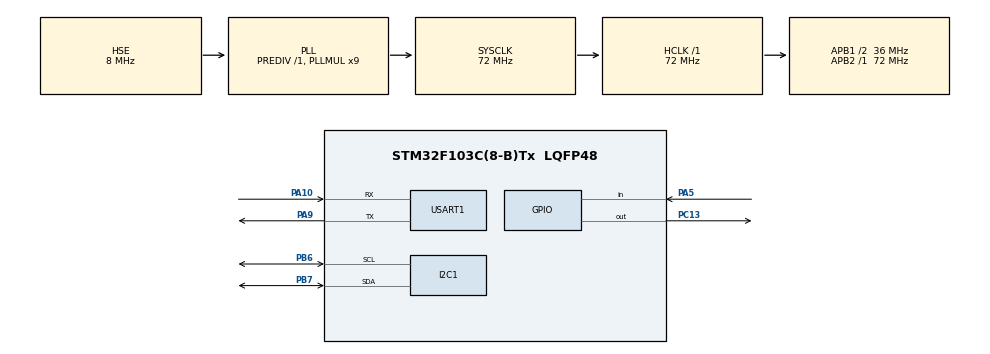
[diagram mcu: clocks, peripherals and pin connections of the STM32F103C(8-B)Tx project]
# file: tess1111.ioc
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FREERTOS.BinarySemaphores01=rxUart_BinarySem01,Dynamic,NULL,Available
FREERTOS.Mutexes01=uart_tx_Mutex01,Dynamic,NULL,Available
FREERTOS.Queues01=sensor_Queue01,16,uint16_t,0,Dynamic,NULL,NULL;rxUart_Queue02,16,uint16_t,0,Dynamic,NULL,NULL
FREERTOS.Tasks01=defaultTask,24,128,StartDefaultTask,Default,NULL,Dynamic,NULL,NULL;UART_RX_Task02,41,128,rxStartTask02,Default,NULL,Dynamic,NULL,NULL;Warning_Task03,16,128,waStartTask03,Default,NULL,Dynamic,NULL,NULL;UART_TX_Task04,10,128,txStartTask04,Default,NULL,Dynamic,NULL,NULL;LCD_Task05,10,128,lcdStartTask05,Default,NULL,Dynamic,NULL,NULL;DHT11_Task06,9,128,dht11StartTask06,Default,NULL,Dynamic,NULL,NULL
FREERTOS.configTOTAL_HEAP_SIZE=12288
FREERTOS.configUSE_NEWLIB_REENTRANT=1
Mcu.Family=STM32F1
Mcu.Name=STM32F103C(8-B)Tx
Mcu.Package=LQFP48
NVIC.PriorityGroup=NVIC_PRIORITYGROUP_4
NVIC.TIM4_IRQn=true\:15\:0\:false\:false\:true\:false\:false\:true\:true
NVIC.TimeBase=TIM4_IRQn
NVIC.TimeBaseIP=TIM4
NVIC.USART1_IRQn=true\:5\:0\:false\:false\:true\:true\:true\:true\:true
PA10.Mode=Asynchronous
PA10.Signal=USART1_RX
PA13.Mode=Serial_Wire
PA13.Signal=SYS_JTMS-SWDIO
PA14.Mode=Serial_Wire
PA14.Signal=SYS_JTCK-SWCLK
PA5.Signal=GPIO_Input
PA9.Mode=Asynchronous
PA9.Signal=USART1_TX
PB6.Mode=I2C
PB6.Signal=I2C1_SCL
PB7.Mode=I2C
PB7.Signal=I2C1_SDA
PC13-TAMPER-RTC.Signal=GPIO_Output
PD0-OSC_IN.Mode=HSE-External-Oscillator
PD0-OSC_IN.Signal=RCC_OSC_IN
PD1-OSC_OUT.Mode=HSE-External-Oscillator
PD1-OSC_OUT.Signal=RCC_OSC_OUT
ProjectManager.HeapSize=0x200
ProjectManager.StackSize=0x400
ProjectManager.TargetToolchain=STM32CubeIDE
RCC.AHBFreq_Value=72000000
RCC.APB1CLKDivider=RCC_HCLK_DIV2
RCC.APB1Freq_Value=36000000
RCC.APB1TimFreq_Value=72000000
RCC.APB2Freq_Value=72000000
RCC.APB2TimFreq_Value=72000000
RCC.HCLKFreq_Value=72000000
RCC.PLLMUL=RCC_PLL_MUL9
RCC.PLLSourceVirtual=RCC_PLLSOURCE_HSE
RCC.SYSCLKFreq_VALUE=72000000
RCC.SYSCLKSource=RCC_SYSCLKSOURCE_PLLCLK
RCC.USBFreq_Value=72000000
USART1.VirtualMode=VM_ASYNC
VP_FREERTOS_VS_CMSIS_V2.Mode=CMSIS_V2
VP_SYS_VS_tim4.Mode=TIM4
VP_TIM2_VS_ClockSourceINT.Mode=Internal
board=custom

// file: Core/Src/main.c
/* USER CODE BEGIN Header */
/* USER CODE END Header */
#include "main.h"
#include "cmsis_os.h"

/* USER CODE BEGIN Includes */
#include <stdarg.h>
#include <stdio.h>
#include <string.h>
#include "dht11.h"
#include "i2c_LCD.h"
#include "time_delay.h"

/* USER CODE END Includes */

I2C_HandleTypeDef hi2c1;

TIM_HandleTypeDef htim2;

UART_HandleTypeDef huart1;

/* Definitions for defaultTask */
osThreadId_t defaultTaskHandle;
const osThreadAttr_t defaultTask_attributes = {
  .name = "defaultTask",
  .stack_size = 128 * 4,
  .priority = (osPriority_t) osPriorityLow,
};
/* Definitions for UART_RX_Task02 */
osThreadId_t UART_RX_Task02Handle;
const osThreadAttr_t UART_RX_Task02_attributes = {
  .name = "UART_RX_Task02",
  .stack_size = 256 * 4,
  .priority = (osPriority_t) osPriorityHigh1,
};
/* Definitions for Warning_Task03 */
osThreadId_t Warning_Task03Handle;
const osThreadAttr_t Warning_Task03_attributes = {
  .name = "Warning_Task03",
  .stack_size = 128 * 4,
  .priority = (osPriority_t) osPriorityLow2,
};
/* Definitions for UART_TX_Task04 */
osThreadId_t UART_TX_Task04Handle;
const osThreadAttr_t UART_TX_Task04_attributes = {
  .name = "UART_TX_Task04",
  .stack_size = 512 * 4,
  .priority = (osPriority_t) osPriorityLow2,
};
/* Definitions for LCD_Task05 */
osThreadId_t LCD_Task05Handle;
const osThreadAttr_t LCD_Task05_attributes = {
  .name = "LCD_Task05",
  .stack_size = 256 * 4,
  .priority = (osPriority_t) osPriorityLow2,
};
/* Definitions for DHT11_Task06 */
osThreadId_t DHT11_Task06Handle;
const osThreadAttr_t DHT11_Task06_attributes = {
  .name = "DHT11_Task06",
  .stack_size = 256 * 4,
  .priority = (osPriority_t) osPriorityLow3,
};
/* Definitions for sensor_Queue01 */
osMessageQueueId_t sensor_Queue01Handle;
const osMessageQueueAttr_t sensor_Queue01_attributes = {
  .name = "sensor_Queue01"
};
/* Definitions for rxUart_Queue02 */
osMessageQueueId_t rxUart_Queue02Handle;
const osMessageQueueAttr_t rxUart_Queue02_attributes = {
  .name = "rxUart_Queue02"
};
/* Definitions for uart_tx_Mutex01 */
osMutexId_t uart_tx_Mutex01Handle;
const osMutexAttr_t uart_tx_Mutex01_attributes = {
  .name = "uart_tx_Mutex01"
};
/* Definitions for rxUart_BinarySem01 */
osSemaphoreId_t rxUart_BinarySem01Handle;
const osSemaphoreAttr_t rxUart_BinarySem01_attributes = {
  .name = "rxUart_BinarySem01"
};
/* USER CODE BEGIN PV */
volatile uint8_t g_temp = 0;
volatile uint8_t g_hum  = 0;

volatile uint8_t th_temp = 20;
volatile uint8_t th_hum  = 60;

volatile uint32_t T1 = 2000; // DHT11
volatile uint32_t T2 = 500;  // Warning
volatile uint32_t T3 = 2000; // LCD
volatile uint32_t T4 = 1000; // UART TX

uint8_t rx_byte;
char rx_buf[64];
volatile uint8_t rx_idx = 0;
// Driver handles
LCD1602_I2C_t lcd;
DHT11_HandleTypeDef hdht11;
DHT11_Data_t dht_out;

/* USER CODE END PV */

void SystemClock_Config(void);
static void MX_GPIO_Init(void);
static void MX_I2C1_Init(void);
static void MX_USART1_UART_Init(void);
static void MX_TIM2_Init(void);
void StartDefaultTask(void *argument);
void rxStartTask02(void *argument);
void waStartTask03(void *argument);
void txStartTask04(void *argument);
void lcdStartTask05(void *argument);
void dht11StartTask06(void *argument);

/* USER CODE BEGIN 0 */
void myPrintf(const char *fmt, ...)
{
  char buf[128];
  va_list args;

  va_start(args, fmt);
  int len = vsnprintf(buf, sizeof(buf), fmt, args);
  va_end(args);

  if (len <= 0) return;
  if (len > sizeof(buf)) len = sizeof(buf);

  osMutexAcquire(uart_tx_Mutex01Handle, osWaitForever);
  HAL_UART_Transmit(&huart1, (uint8_t*)buf, len, 100);
  osMutexRelease(uart_tx_Mutex01Handle);
}

/* USER CODE BEGIN 0 */
static void Exec_DHT11(void)
{
  DHT11_Data_t d;
  int err = DHT11_Read(&hdht11, &d);
  if (err == 0)
  {
    g_temp = d.temperature_int;
    g_hum  = d.humidity_int;
  }
  // n?u l?i: gi? giá tr? cu (không gán)
}

//static void Exec_WarningLED(void)
//{
//  if (g_temp > th_temp || g_hum > th_hum)
//    HAL_GPIO_WritePin(GPIOC, GPIO_PIN_13, GPIO_PIN_RESET); // ON (active-low)
//  else
//    HAL_GPIO_WritePin(GPIOC, GPIO_PIN_13, GPIO_PIN_SET);   // OFF
//}
static void Exec_WarningLED(void)
{
  static uint32_t last_toggle = 0;
  const uint32_t blink_ms = 50; // t?c d? nháy khi c?nh báo

  if (g_temp > th_temp || g_hum > th_hum)
  {
    uint32_t now = osKernelGetTickCount();
    if ((now - last_toggle) >= blink_ms)
    {
      HAL_GPIO_TogglePin(GPIOC, GPIO_PIN_13);  // nháy
      last_toggle = now;
    }
  }
  else
  {
    HAL_GPIO_WritePin(GPIOC, GPIO_PIN_13, GPIO_PIN_SET); // OFF (PC13 active-low)
    last_toggle = osKernelGetTickCount(); // reset nh?p nháy
  }
}

static void Exec_LCD(void)
{
  char l1[17], l2[17];
  snprintf(l1, sizeof(l1), "Tem:%2uC Hum:%2u%%", g_temp, g_hum);
  snprintf(l2, sizeof(l2), "SET:%2uC %2u%% ", th_temp, th_hum);

  LCD1602_SetCursor(&lcd, 0, 0);
  LCD1602_Print(&lcd, "                ");
  LCD1602_SetCursor(&lcd, 0, 0);
  LCD1602_Print(&lcd, l1);

  LCD1602_SetCursor(&lcd, 1, 0);
  LCD1602_Print(&lcd, "                ");
  LCD1602_SetCursor(&lcd, 1, 0);
  LCD1602_Print(&lcd, l2);
}

static void Exec_UARTTX(void)
{
  myPrintf("[TX] tick=%lu T=%u H=%u | P=%lu,%lu,%lu,%lu | SET: %u,%u\r\n",
           osKernelGetTickCount(), g_temp, g_hum,
           T1, T2, T3, T4, th_temp, th_hum);
}

static void Exec_UARTRX_Parse(void)
{
  uint32_t p1,p2,p3,p4,tt,hh;
  if (sscanf(rx_buf, "SET P=%lu,%lu,%lu,%lu TEMP=%lu HUM=%lu",
             &p1,&p2,&p3,&p4,&tt,&hh) == 6)
  {
    osKernelLock();
    T1 = p1; T2 = p2; T3 = p3; T4 = p4;
    th_temp = (uint8_t)tt;
    th_hum  = (uint8_t)hh;
    osKernelUnlock();

    myPrintf("[RX] OK P=%lu,%lu,%lu,%lu TH=%u,%u\r\n",
             T1,T2,T3,T4,th_temp,th_hum);
  }
  else
  {
    myPrintf("[RX] BAD CMD: %s\r\n", rx_buf);
    myPrintf("[RX] EX: SET P=2000,500,1000,1000 TEMP=30 HUM=60.\r\n");
  }
}
/* USER CODE END 0 */

/* USER CODE END 0 */

int main(void)
{

  /* MCU Configuration--------------------------------------------------------*/

  /* Reset of all peripherals, Initializes the Flash interface and the Systick. */
  HAL_Init();

  /* Configure the system clock */
  SystemClock_Config();

  /* Initialize all configured peripherals */
  MX_GPIO_Init();
  MX_I2C1_Init();
  MX_USART1_UART_Init();
  MX_TIM2_Init();
  /* USER CODE BEGIN 2 */
  /* USER CODE BEGIN 2 */

  HAL_TIM_Base_Start(&htim2);
  TIM2_Delay_Init(&htim2);

  // init dht11 (PA5 + TIM2)
  hdht11.GPIOx = GPIOA;
  hdht11.GPIO_Pin = GPIO_PIN_5;
  hdht11.htim = &htim2;
  DHT11_Init(&hdht11);

  // LCD address: 0x27 ho?c 0x3F
  LCD1602_Init(&lcd, &hi2c1, 0x27);
  LCD1602_Clear(&lcd);
  LCD1602_SetCursor(&lcd, 0, 0);
  LCD1602_Print(&lcd, "DHT11 + LCD");
  HAL_Delay(1000);
  LCD1602_Clear(&lcd);

  // set default global

//  T1 = 2000; // DHT11
//  T2 = 500;  // Warning
//  T3 = 1000; // LCD
//  T4 = 1000; // UART TX
//
//  th_temp = 20;
//  th_hum  = 70;

  HAL_GPIO_WritePin(GPIOC, GPIO_PIN_13, GPIO_PIN_SET); // LED OFF (PC13 active-low)

  // start UART RX interrupt (1 byte)
 HAL_UART_Receive_IT(&huart1, &rx_byte, 1);
//  HAL_UART_Transmit(&huart1, (uint8_t*)"BOOT\r\n", 6, 100);
//  HAL_Delay(200);
//  HAL_UART_Transmit(&huart1, (uint8_t*)"BOOT2\r\n", 7, 100);

  /* USER CODE END 2 */

  /* USER CODE END 2 */

  /* Init scheduler */
  osKernelInitialize();
  /* Create the mutex(es) */
  /* creation of uart_tx_Mutex01 */
  uart_tx_Mutex01Handle = osMutexNew(&uart_tx_Mutex01_attributes);

  /* Create the semaphores(s) */
  /* creation of rxUart_BinarySem01 */
//  rxUart_BinarySem01Handle = osSemaphoreNew(1, 1, &rxUart_BinarySem01_attributes);
  rxUart_BinarySem01Handle = osSemaphoreNew(1, 0, &rxUart_BinarySem01_attributes);

  /* Create the queue(s) */
  /* creation of sensor_Queue01 */
  sensor_Queue01Handle = osMessageQueueNew (16, sizeof(uint16_t), &sensor_Queue01_attributes);

  /* creation of rxUart_Queue02 */
  rxUart_Queue02Handle = osMessageQueueNew (16, sizeof(uint16_t), &rxUart_Queue02_attributes);

  /* Create the thread(s) */
  /* creation of defaultTask */
  defaultTaskHandle = osThreadNew(StartDefaultTask, NULL, &defaultTask_attributes);

  /* creation of UART_RX_Task02 */
  UART_RX_Task02Handle = osThreadNew(rxStartTask02, NULL, &UART_RX_Task02_attributes);

  /* creation of Warning_Task03 */
  Warning_Task03Handle = osThreadNew(waStartTask03, NULL, &Warning_Task03_attributes);

  /* creation of UART_TX_Task04 */
  UART_TX_Task04Handle = osThreadNew(txStartTask04, NULL, &UART_TX_Task04_attributes);

  /* creation of LCD_Task05 */
  LCD_Task05Handle = osThreadNew(lcdStartTask05, NULL, &LCD_Task05_attributes);

  /* creation of DHT11_Task06 */
  DHT11_Task06Handle = osThreadNew(dht11StartTask06, NULL, &DHT11_Task06_attributes);

  /* Start scheduler */
  osKernelStart();

  /* We should never get here as control is now taken by the scheduler */

  /* Infinite loop */

}

void SystemClock_Config(void)
{
  RCC_OscInitTypeDef RCC_OscInitStruct = {0};
  RCC_ClkInitTypeDef RCC_ClkInitStruct = {0};

  /** Initializes the RCC Oscillators according to the specified parameters
  * in the RCC_OscInitTypeDef structure.
  */
  RCC_OscInitStruct.OscillatorType = RCC_OSCILLATORTYPE_HSE;
  RCC_OscInitStruct.HSEState = RCC_HSE_ON;
  RCC_OscInitStruct.HSEPredivValue = RCC_HSE_PREDIV_DIV1;
  RCC_OscInitStruct.HSIState = RCC_HSI_ON;
  RCC_OscInitStruct.PLL.PLLState = RCC_PLL_ON;
  RCC_OscInitStruct.PLL.PLLSource = RCC_PLLSOURCE_HSE;
  RCC_OscInitStruct.PLL.PLLMUL = RCC_PLL_MUL9;
  if (HAL_RCC_OscConfig(&RCC_OscInitStruct) != HAL_OK)
  {
    Error_Handler();
  }

  /** Initializes the CPU, AHB and APB buses clocks
  */
  RCC_ClkInitStruct.ClockType = RCC_CLOCKTYPE_HCLK|RCC_CLOCKTYPE_SYSCLK
                              |RCC_CLOCKTYPE_PCLK1|RCC_CLOCKTYPE_PCLK2;
  RCC_ClkInitStruct.SYSCLKSource = RCC_SYSCLKSOURCE_PLLCLK;
  RCC_ClkInitStruct.AHBCLKDivider = RCC_SYSCLK_DIV1;
  RCC_ClkInitStruct.APB1CLKDivider = RCC_HCLK_DIV2;
  RCC_ClkInitStruct.APB2CLKDivider = RCC_HCLK_DIV1;

  if (HAL_RCC_ClockConfig(&RCC_ClkInitStruct, FLASH_LATENCY_2) != HAL_OK)
  {
    Error_Handler();
  }
}

static void MX_I2C1_Init(void)
{

  hi2c1.Instance = I2C1;
  hi2c1.Init.ClockSpeed = 100000;
  hi2c1.Init.DutyCycle = I2C_DUTYCYCLE_2;
  hi2c1.Init.OwnAddress1 = 0;
  hi2c1.Init.AddressingMode = I2C_ADDRESSINGMODE_7BIT;
  hi2c1.Init.DualAddressMode = I2C_DUALADDRESS_DISABLE;
  hi2c1.Init.OwnAddress2 = 0;
  hi2c1.Init.GeneralCallMode = I2C_GENERALCALL_DISABLE;
  hi2c1.Init.NoStretchMode = I2C_NOSTRETCH_DISABLE;
  if (HAL_I2C_Init(&hi2c1) != HAL_OK)
  {
    Error_Handler();
  }

}

static void MX_TIM2_Init(void)
{

  TIM_ClockConfigTypeDef sClockSourceConfig = {0};
  TIM_MasterConfigTypeDef sMasterConfig = {0};

  htim2.Instance = TIM2;
  htim2.Init.Prescaler = 71;
  htim2.Init.CounterMode = TIM_COUNTERMODE_UP;
  htim2.Init.Period = 65535;
  htim2.Init.ClockDivision = TIM_CLOCKDIVISION_DIV1;
  htim2.Init.AutoReloadPreload = TIM_AUTORELOAD_PRELOAD_DISABLE;
  if (HAL_TIM_Base_Init(&htim2) != HAL_OK)
  {
    Error_Handler();
  }
  sClockSourceConfig.ClockSource = TIM_CLOCKSOURCE_INTERNAL;
  if (HAL_TIM_ConfigClockSource(&htim2, &sClockSourceConfig) != HAL_OK)
  {
    Error_Handler();
  }
  sMasterConfig.MasterOutputTrigger = TIM_TRGO_RESET;
  sMasterConfig.MasterSlaveMode = TIM_MASTERSLAVEMODE_DISABLE;
  if (HAL_TIMEx_MasterConfigSynchronization(&htim2, &sMasterConfig) != HAL_OK)
  {
    Error_Handler();
  }

}

static void MX_USART1_UART_Init(void)
{

  huart1.Instance = USART1;
  huart1.Init.BaudRate = 115200;
  huart1.Init.WordLength = UART_WORDLENGTH_8B;
  huart1.Init.StopBits = UART_STOPBITS_1;
  huart1.Init.Parity = UART_PARITY_NONE;
  huart1.Init.Mode = UART_MODE_TX_RX;
  huart1.Init.HwFlowCtl = UART_HWCONTROL_NONE;
  huart1.Init.OverSampling = UART_OVERSAMPLING_16;
  if (HAL_UART_Init(&huart1) != HAL_OK)
  {
    Error_Handler();
  }

}

static void MX_GPIO_Init(void)
{
  GPIO_InitTypeDef GPIO_InitStruct = {0};

  /* GPIO Ports Clock Enable */
  __HAL_RCC_GPIOC_CLK_ENABLE();
  __HAL_RCC_GPIOD_CLK_ENABLE();
  __HAL_RCC_GPIOA_CLK_ENABLE();
  __HAL_RCC_GPIOB_CLK_ENABLE();

  /*Configure GPIO pin Output Level */
  HAL_GPIO_WritePin(GPIOC, GPIO_PIN_13, GPIO_PIN_RESET);

  /*Configure GPIO pin : PC13 */
  GPIO_InitStruct.Pin = GPIO_PIN_13;
  GPIO_InitStruct.Mode = GPIO_MODE_OUTPUT_PP;
  GPIO_InitStruct.Pull = GPIO_NOPULL;
  GPIO_InitStruct.Speed = GPIO_SPEED_FREQ_LOW;
  HAL_GPIO_Init(GPIOC, &GPIO_InitStruct);

  /*Configure GPIO pin : PA5 */
  GPIO_InitStruct.Pin = GPIO_PIN_5;
  GPIO_InitStruct.Mode = GPIO_MODE_INPUT;
  GPIO_InitStruct.Pull = GPIO_NOPULL;
  HAL_GPIO_Init(GPIOA, &GPIO_InitStruct);

}

/* USER CODE BEGIN 4 */

void HAL_UART_RxCpltCallback(UART_HandleTypeDef *huart)
{
  if (huart->Instance == USART1)
  {
    if (rx_idx < sizeof(rx_buf)-1)
      rx_buf[rx_idx++] = (char)rx_byte;

    if (rx_byte == '.')
    {
      rx_buf[rx_idx] = 0;
      rx_idx = 0;

      if (osKernelGetState() == osKernelRunning && rxUart_BinarySem01Handle != NULL)
        osSemaphoreRelease(rxUart_BinarySem01Handle);
    }

    HAL_UART_Receive_IT(&huart1, &rx_byte, 1);
  }
}

/* USER CODE END 4 */

void StartDefaultTask(void *argument)
{
  /* USER CODE BEGIN 5 */
//	  HAL_UART_Receive_IT(&huart1, &rx_byte, 1);
	  for(;;) osDelay(10000);
  /* USER CODE END 5 */
}

void rxStartTask02(void *argument)
{
  /* USER CODE BEGIN rxStartTask02 */
//	for(;;)
//	  {
//	    osSemaphoreAcquire(rxUart_BinarySem01Handle, osWaitForever);
//
//	    uint32_t p1,p2,p3,p4,tt,hh;
//
//	    if (sscanf(rx_buf,"SET P=%lu,%lu,%lu,%lu TEMP=%lu HUM=%lu",
//	               &p1,&p2,&p3,&p4,&tt,&hh)==6)
//	    {
//	      T1=p1; T2=p2; T3=p3; T4=p4;
//	      th_temp=tt; th_hum=hh;
//
//	      myPrintf("[RX] OK P=%lu,%lu,%lu,%lu T=%u H=%u\r\n",
//	               T1,T2,T3,T4,th_temp,th_hum);
//	    }
//	  }
  /* USER CODE END rxStartTask02 */

	  /* USER CODE BEGIN rxStartTask02 */
	  for(;;)
	  {
	    osSemaphoreAcquire(rxUart_BinarySem01Handle, osWaitForever);
	    Exec_UARTRX_Parse();
	  }
	  /* USER CODE END rxStartTask02 */

}

void waStartTask03(void *argument)
{
  /* USER CODE BEGIN waStartTask03 */

//	  for(;;)
//	  {
//	    myPrintf("[WARN] START %lu\r\n", osKernelGetTickCount());
//
//	    if(g_temp>th_temp || g_hum>th_hum)
//	      HAL_GPIO_WritePin(GPIOC,GPIO_PIN_13,GPIO_PIN_RESET);
//	    else
//	      HAL_GPIO_WritePin(GPIOC,GPIO_PIN_13,GPIO_PIN_SET);
//
//	    myPrintf("[WARN] END %lu\r\n", osKernelGetTickCount());
//	    osDelay(T2);
//	  }

	  /* USER CODE BEGIN waStartTask03 */
	  uint32_t last = osKernelGetTickCount();
	  for(;;)
	  {
		  myPrintf("[%lu] RUN warring\r\n",last);
	    last += T2;
	    Exec_WarningLED();
	   osDelayUntil(last);
	    //osDelay(last);
	  }
	  /* USER CODE END waStartTask03 */

  /* USER CODE END waStartTask03 */
}

void txStartTask04(void *argument)
{
  /* USER CODE BEGIN txStartTask04 */

//	  for(;;)
//	  {
//	    myPrintf("[TX] tick=%lu T=%d H=%d\r\n",
//	             osKernelGetTickCount(), g_temp, g_hum);
//	    osDelay(T4);
//	  }

	  /* USER CODE BEGIN txStartTask04 */
	//  HAL_UART_Transmit(&huart1, (uint8_t*)"HELLO\r\n", 7, 100);
	  uint32_t last = osKernelGetTickCount();
	  for(;;)
	  {
	    last += T4;
	    Exec_UARTTX();
	    osDelayUntil(last);
	   // osDelay(last);
	  }
	  /* USER CODE END txStartTask04 */

  /* USER CODE END txStartTask04 */
}

void lcdStartTask05(void *argument)
{
  /* USER CODE BEGIN lcdStartTask05 */

//	  for(;;)
//	  {
//	    myPrintf("[LCD] tick=%lu\r\n", osKernelGetTickCount());
//	    osDelay(T3);
//	  }

	  /* USER CODE BEGIN lcdStartTask05 */
	  uint32_t last = osKernelGetTickCount();
	  for(;;)
	  {
	    last += T3;
	    Exec_LCD();
	    osDelayUntil(last);
	   // osDelay(last);
	  }
	  /* USER CODE END lcdStartTask05 */

  /* USER CODE END lcdStartTask05 */
}

void dht11StartTask06(void *argument)
{
  /* USER CODE BEGIN dht11StartTask06 */

//	  for(;;)
//	  {
//	    myPrintf("[DHT11] START %lu\r\n", osKernelGetTickCount());
//
//	    // DHT11_Read(...) -> g_temp, g_hum
//
//	    myPrintf("[DHT11] END %lu\r\n", osKernelGetTickCount());
//	    osDelay(T1);
//	  }

	  /* USER CODE BEGIN dht11StartTask06 */
	  uint32_t last = osKernelGetTickCount();
	  for(;;)
	  {
	    last += T1;
	    Exec_DHT11();
	    osDelayUntil(last);
	 //   osDelay(last);
	  }
	  /* USER CODE END dht11StartTask06 */

  /* USER CODE END dht11StartTask06 */
}

void HAL_TIM_PeriodElapsedCallback(TIM_HandleTypeDef *htim)
{
  if (htim->Instance == TIM4)
  {
    HAL_IncTick();
  }

}

void Error_Handler(void)
{
}
